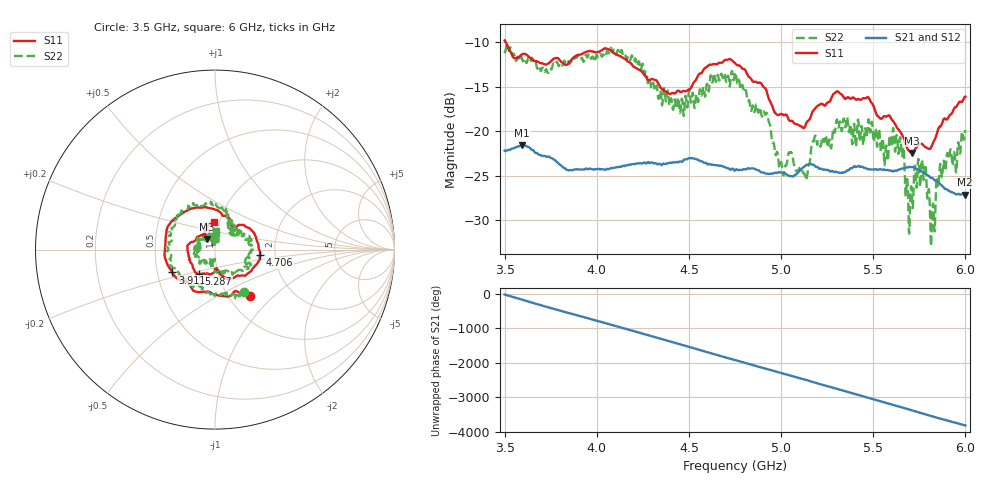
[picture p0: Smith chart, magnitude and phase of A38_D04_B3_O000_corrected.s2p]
! Created with skrf 1.9.0 (http://scikit-rf.org).
# Hz S RI R 50.0
!freq ReS11 ImS11 ReS21 ImS21 ReS12 ImS12 ReS22 ImS22
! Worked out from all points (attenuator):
!   1601 points, 3.5 GHz to 6 GHz, reference 50 ohm
!   highest |S21| = -21.57 dB at 3.595 GHz (marker M1); lowest = -27.2 dB at 5.995 GHz (marker M2)
!   lowest |S11| = -22.5 dB at 5.711 GHz (marker M3), VSWR 1.16, Z = 45.2 + j5.38 ohm
!   |S11| at or under -10 dB: 3.507 GHz to end of sweep
!   |S22| runs from -33.0 to -10.3 dB; largest |S21 - S12| = 0.001
!   S11 on the Smith chart (normalised r, x): 3.5 GHz: 1.26, -0.72; 3.911 GHz: 0.60, -0.16; 4.706 GHz: 1.66, -0.10; 5.287 GHz: 0.81, -0.23; 6 GHz: 0.94, +0.30
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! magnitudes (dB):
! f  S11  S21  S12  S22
! 3.5 GHz  -9.8  -22.2  -22.2  -11.0
! 3.595 GHz  -11.3  -21.6  -21.6  -11.9
! 3.911 GHz  -11.4  -24.3  -24.3  -11.9
! 3.917 GHz  -11.3  -24.3  -24.3  -11.8
! 4.125 GHz  -11.5  -24.0  -24.0  -11.3
! 4.334 GHz  -14.7  -23.7  -23.6  -16.4
! 4.706 GHz  -12.0  -24.1  -24.1  -14.2
! 4.75 GHz  -12.3  -24.4  -24.3  -13.4
! 4.919 GHz  -15.4  -24.8  -24.8  -18.0
! 5.003 GHz  -18.1  -24.7  -24.7  -23.7
! 5.133 GHz  -19.3  -23.9  -23.8  -25.3
! 5.167 GHz  -18.0  -23.8  -23.7  -21.4
! 5.287 GHz  -15.8  -24.6  -24.6  -19.9
! 5.584 GHz  -18.2  -24.4  -24.3  -21.7
! 5.655 GHz  -20.4  -24.2  -24.1  -22.7
! 5.686 GHz  -22.0  -24.1  -24.1  -25.8
! 5.711 GHz  -22.5  -24.0  -24.0  -27.6
! 5.773 GHz  -21.6  -24.7  -24.6  -25.5
! 5.823 GHz  -21.4  -25.3  -25.3  -28.2
! 5.855 GHz  -19.7  -25.8  -25.7  -26.0
! 5.995 GHz  -16.2  -27.2  -27.1  -20.6
! 6 GHz  -16.1  -27.2  -27.1  -19.9
